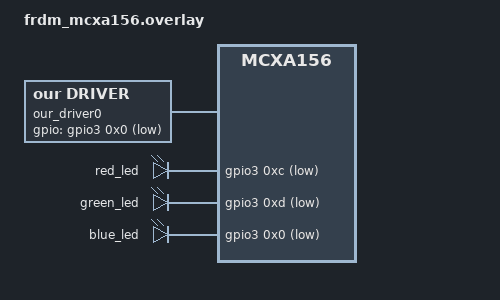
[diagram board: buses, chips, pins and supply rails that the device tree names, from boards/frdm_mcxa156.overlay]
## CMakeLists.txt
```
cmake_minimum_required(VERSION 3.20.0)

# Add the current source directory(app/boards/our_board) to the list of board root directories
list(APPEND BOARD_ROOT ${CMAKE_CURRENT_SOURCE_DIR})
list(APPEND DTS_ROOT ${CMAKE_CURRENT_SOURCE_DIR}/..)

find_package(Zephyr REQUIRED)
project(my_zephyr_app)

target_sources(app PRIVATE src/main.cpp)

add_subdirectory(${CMAKE_CURRENT_SOURCE_DIR}/../drivers/our_driver ${CMAKE_CURRENT_BINARY_DIR}/our_driver)
```

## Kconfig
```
menuconfig LED_SUBSYSTEM
    bool "LED Subsystem"
    default y

if LED_SUBSYSTEM

choice
    prompt "LED blink sleep time"
    default LED_BLINK_SLEEP_1000MS

config LED_BLINK_SLEEP_250MS
    bool "250ms (fast)"

config LED_BLINK_SLEEP_500MS
    bool "500ms"

config LED_BLINK_SLEEP_1000MS
    bool "1s (medium)"

config LED_BLINK_SLEEP_2000MS
    bool "2s (slow)"

endchoice

config LED_BLINK_SLEEP_TIME_MS
    int
    default 250 if LED_BLINK_SLEEP_250MS
    default 500 if LED_BLINK_SLEEP_500MS
    default 1000 if LED_BLINK_SLEEP_1000MS
    default 2000 if LED_BLINK_SLEEP_2000MS


menuconfig LED_ADVANCED_SETTINGS
    bool "Advanced LED settings"
    default n

if LED_ADVANCED_SETTINGS

config LED_BRIGHTNESS
    int "LED brightness (0-100)"
    range 0 100
    default 100

config LED_FADE_DURATION_MS
    int "LED fade duration (ms)"
    range 0 5000
    default 500

menu "Expert settings"
    visible if LED_ADVANCED_SETTINGS

config LED_DEBUG
    bool "Enable LED debugging"
    default n

config LED_CUSTOM_BLINK_PATTERN
    bool "Custom blink pattern"
    default n

endmenu

endif # LED_ADVANCED_SETTINGS

endif # LED_SUBSYSTEM

config APP_HEARTBEAT_PERIOD_MS
    int "Heartbeat period (ms)"
    range 100 2000
    default 500

source "Kconfig.zephyr"
rsource "../drivers/our_driver/Kconfig"
```

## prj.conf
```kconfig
CONFIG_GPIO=y
CONFIG_SENSOR=y
CONFIG_LOG=y
CONFIG_OUR_DRIVER=y
CONFIG_SHELL=y

# Kconfig lesson
#CONFIG_LED_BLINK_SLEEP_2000MS=y

CONFIG_APP_HEARTBEAT_PERIOD_MS=500
```

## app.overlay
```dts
/ {
	our_driver0: our_driver {
		compatible = "our,driver";
		status = "okay";
	};

	our_driver1: our_driver1 {
	compatible = "our,driver";
	status = "okay";
	};

};
```

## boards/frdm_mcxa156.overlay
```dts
/ {
	our_driver0: our_driver {
		compatible = "our,driver";
		gpios = <&gpio3 0x0 GPIO_ACTIVE_LOW>;
		status = "okay";
	};

	leds {
		compatible = "gpio-leds";

		red_led: led_0 {
			gpios = <&gpio3 0xc GPIO_ACTIVE_LOW>;
		};

		green_led: led_1 {
			gpios = <&gpio3 0xd GPIO_ACTIVE_LOW>;
		};

		blue_led: led_2 {
			gpios = <&gpio3 0x0 GPIO_ACTIVE_LOW>;
		};
	};


};
```

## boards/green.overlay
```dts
/ {
	aliases {
		warning-led = &green_led;
	};
};
```

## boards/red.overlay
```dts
/ {
	aliases {
		warning-led = &red_led;
	};
};
```

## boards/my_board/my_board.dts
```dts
/dts-v1/;

#include <nxp/nxp_mcxa156.dtsi>

/ {
	model = "My Board";
	compatible = "NPCC", "nxp,mcx";

	aliases {
		led0 = &red_led;
		led1 = &green_led;
		led2 = &blue_led;
	};

	chosen {
		zephyr,sram = &sram0;
		zephyr,flash = &flash;
		zephyr,flash-controller = &fmu;
		zephyr,code-partition = &slot0_partition;
	};

	leds {
		compatible = "gpio-leds";
		red_led: led_0 {
			gpios = <&gpio3 12 GPIO_ACTIVE_LOW>;
			label = "Red LED";
		};
		green_led: led_1 {
			gpios = <&gpio3 13 GPIO_ACTIVE_LOW>;
			label = "Green LED";
		};
		blue_led: led_2 {
			gpios = <&gpio3 0 GPIO_ACTIVE_LOW>;
			label = "Blue LED";
		};
	};

};

&gpio3 {
	status = "okay";
};

&flash {
	partitions {
		compatible = "fixed-partitions";
		#address-cells = <1>;
		#size-cells = <1>;

		boot_partition: partition@0 {
			label = "mcuboot";
			reg = <0x00000000 DT_SIZE_K(64)>;
			read-only;
		};
		slot0_partition: partition@10000 {
			label = "image-0";
			reg = <0x00010000 DT_SIZE_K(424)>;
		};
		slot1_partition: partition@7a000 {
			label = "image-1";
			reg = <0x0007a000 DT_SIZE_K(424)>;
		};
		storage_partition: partition@e4000 {
			label = "storage";
			reg = <0x000e4000 DT_SIZE_K(112)>;
		};
	};
};
```

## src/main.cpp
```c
#include <zephyr/drivers/gpio.h>
#include <zephyr/drivers/sensor.h>
#include <zephyr/kernel.h>
#include <zephyr/logging/log.h>

#include "our_driver.h"

//#define SLEEP_TIME_MS 1000

/* The devicetree node identifier for the "led0" alias. */
#define LED_NODE DT_ALIAS(led2)

static const struct gpio_dt_spec led = GPIO_DT_SPEC_GET(LED_NODE, gpios);

LOG_MODULE_REGISTER(main, LOG_LEVEL_INF);

namespace {
    void test_driver()
    {
        const struct device *driver = DEVICE_DT_GET(DT_NODELABEL(our_driver0));

        if (!device_is_ready(driver)) {
            LOG_ERR("Our driver is not ready");
            return;
        }

        int ret = sensor_sample_fetch(driver);
        LOG_INF("sample_fetch returned %d", ret);

        k_msleep(CONFIG_APP_HEARTBEAT_PERIOD_MS);

        struct sensor_value value;
        ret = sensor_channel_get(driver, SENSOR_CHAN_AMBIENT_TEMP, &value);
        LOG_INF("channel_get returned %d", ret);

        k_msleep(CONFIG_APP_HEARTBEAT_PERIOD_MS);

        ret = our_driver_toggle(driver);
        LOG_INF("our_driver_toggle returned %d", ret);
        k_msleep(CONFIG_APP_HEARTBEAT_PERIOD_MS);
    }
}

int main(void)
{

    while (1) {
        test_driver();
    }
    return 0;
}
```
